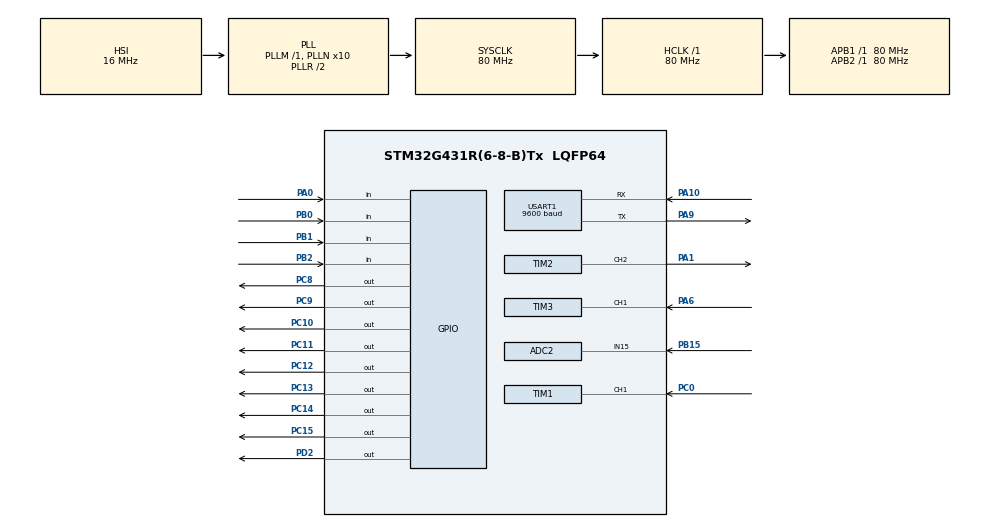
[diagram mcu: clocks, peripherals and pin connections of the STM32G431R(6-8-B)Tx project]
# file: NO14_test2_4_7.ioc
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ADC2.Channel-0\#ChannelRegularConversion=ADC_CHANNEL_15
ADC2.NbrOfConversionFlag=1
ADC2.OffsetNumber-0\#ChannelRegularConversion=ADC_OFFSET_NONE
ADC2.Rank-0\#ChannelRegularConversion=1
ADC2.SamplingTime-0\#ChannelRegularConversion=ADC_SAMPLETIME_2CYCLES_5
Mcu.Family=STM32G4
Mcu.Name=STM32G431R(6-8-B)Tx
Mcu.Package=LQFP64
NVIC.PriorityGroup=NVIC_PRIORITYGROUP_4
NVIC.TIM1_TRG_COM_TIM17_IRQn=true\:0\:0\:false\:false\:true\:true\:true\:true
NVIC.TIM1_UP_TIM16_IRQn=true\:0\:0\:false\:false\:true\:true\:true\:true
NVIC.TIM3_IRQn=true\:0\:0\:false\:false\:true\:true\:true\:true
NVIC.USART1_IRQn=true\:0\:0\:false\:false\:true\:true\:true\:true
PA0.Signal=GPIO_Input
PA1.Signal=S_TIM2_CH2
PA10.Mode=Asynchronous
PA10.Signal=USART1_RX
PA13.Mode=Serial_Wire
PA13.Signal=SYS_JTMS-SWDIO
PA14.Mode=Serial_Wire
PA14.Signal=SYS_JTCK-SWCLK
PA6.GPIO_PuPd=GPIO_PULLDOWN
PA6.GPIO_Speed=GPIO_SPEED_FREQ_LOW
PA6.Signal=S_TIM3_CH1
PA9.Mode=Asynchronous
PA9.Signal=USART1_TX
PB0.GPIO_PuPd=GPIO_PULLUP
PB0.Signal=GPIO_Input
PB1.Signal=GPIO_Input
PB15.Mode=IN15-Single-Ended
PB15.Signal=ADC2_IN15
PB2.Signal=GPIO_Input
PC0.Signal=S_TIM1_CH1
PC10.Signal=GPIO_Output
PC11.Signal=GPIO_Output
PC12.Signal=GPIO_Output
PC13.Signal=GPIO_Output
PC14-OSC32_IN.Signal=GPIO_Output
PC15-OSC32_OUT.Signal=GPIO_Output
PC8.Signal=GPIO_Output
PC9.Signal=GPIO_Output
PD2.Signal=GPIO_Output
PF0-OSC_IN.Mode=HSE-External-Oscillator
PF0-OSC_IN.Signal=RCC_OSC_IN
PF1-OSC_OUT.Mode=HSE-External-Oscillator
PF1-OSC_OUT.Signal=RCC_OSC_OUT
ProjectManager.HeapSize=0x200
ProjectManager.StackSize=0x400
ProjectManager.TargetToolchain=MDK-ARM V5.27
RCC.ADC12Freq_Value=80000000
RCC.AHBFreq_Value=80000000
RCC.APB1Freq_Value=80000000
RCC.APB1TimFreq_Value=80000000
RCC.APB2Freq_Value=80000000
RCC.APB2TimFreq_Value=80000000
RCC.CortexFreq_Value=80000000
RCC.EXTERNAL_CLOCK_VALUE=12288000
RCC.HCLKFreq_Value=80000000
RCC.HSE_VALUE=8000000
RCC.HSI48_VALUE=48000000
RCC.HSI_VALUE=16000000
RCC.LSE_VALUE=32768
RCC.PLLN=10
RCC.SYSCLKFreq_VALUE=80000000
RCC.SYSCLKSource=RCC_SYSCLKSOURCE_PLLCLK
RCC.USBFreq_Value=80000000
RCC.VCOOutputFreq_Value=160000000
SH.S_TIM1_CH1.0=TIM1_CH1,Input_Capture1_from_TI1
SH.S_TIM2_CH2.0=TIM2_CH2,PWM Generation2 CH2
SH.S_TIM3_CH1.0=TIM3_CH1,Input_Capture1_from_TI1
TIM1.Channel-Input_Capture1_from_TI1=TIM_CHANNEL_1
TIM1.PeriodNoDither=1000-1
TIM1.Prescaler=800-1
TIM2.AutoReloadPreload=TIM_AUTORELOAD_PRELOAD_ENABLE
TIM2.Channel-PWM\ Generation2\ CH2=TIM_CHANNEL_2
TIM2.PeriodNoDither=500-1
TIM2.Prescaler=80-1
TIM3.Channel-Input_Capture1_from_TI1=TIM_CHANNEL_1
TIM3.ICPolarity_CH1=TIM_INPUTCHANNELPOLARITY_RISING
TIM3.Prescaler=80-1
USART1.BaudRate=9600
USART1.VirtualMode-Asynchronous=VM_ASYNC
VP_SYS_VS_DBSignals.Mode=DisableDeadBatterySignals
VP_TIM1_VS_ClockSourceINT.Mode=Internal
VP_TIM3_VS_ClockSourceINT.Mode=Internal
board=custom

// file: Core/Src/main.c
/* USER CODE BEGIN Header */
/**
  ******************************************************************************
  * @file           : main.c
  * @brief          : Main program body
  ******************************************************************************
  * @attention
  *
  * Copyright (c) 2025 STMicroelectronics.
  * All rights reserved.
  *
  * This software is licensed under terms that can be found in the LICENSE file
  * in the root directory of this software component.
  * If no LICENSE file comes with this software, it is provided AS-IS.
  *
  ******************************************************************************
  */
/* USER CODE END Header */
#include "main.h"
#include "adc.h"
#include "tim.h"
#include "usart.h"
#include "gpio.h"

/* USER CODE BEGIN Includes */
#include "headfile.h"
/* USER CODE END Includes */

void SystemClock_Config(void);

int main(void)
{

  /* MCU Configuration--------------------------------------------------------*/

  /* Reset of all peripherals, Initializes the Flash interface and the Systick. */
  HAL_Init();

  /* Configure the system clock */
  SystemClock_Config();

  /* Initialize all configured peripherals */
  MX_GPIO_Init();
  MX_ADC2_Init();
  MX_TIM2_Init();
  MX_USART1_UART_Init();
  MX_TIM1_Init();
  MX_TIM3_Init();
  /* USER CODE BEGIN 2 */
	LCD_Init();
	LCD_SetBackColor(Black);
	LCD_SetTextColor(White);
	LCD_Clear(Black);
	HAL_ADC_Start(&hadc2);

	HAL_TIM_Base_Init(&htim1);
	HAL_TIM_Base_Start_IT(&htim1);
	__HAL_UART_ENABLE_IT(&huart1,UART_IT_IDLE);
	HAL_UART_Receive_IT(&huart1,rec,1);

	HAL_TIM_Base_Init(&htim3);
	HAL_TIM_Base_Init(&htim2);
	HAL_TIM_IC_Start_IT(&htim3,TIM_CHANNEL_1);

	HAL_TIM_PWM_Start(&htim2,TIM_CHANNEL_2);

	uint32_t duty = 0.5  * (TIM2->ARR + 1);
	__HAL_TIM_SET_COMPARE(&htim2, TIM_CHANNEL_2, duty);
  /* USER CODE END 2 */

  /* Infinite loop */
  /* USER CODE BEGIN WHILE */
  while (1)
  {
		top_con();
		key_scan();
		get_value();
		lcd_show();
		key_uart();
		duty_change();
		led_scan();
		//TIM2->CCR2=TIM2->ARR*0.5;
    /* USER CODE END WHILE */

  }
}

void SystemClock_Config(void)
{
  RCC_OscInitTypeDef RCC_OscInitStruct = {0};
  RCC_ClkInitTypeDef RCC_ClkInitStruct = {0};

  /** Configure the main internal regulator output voltage
  */
  HAL_PWREx_ControlVoltageScaling(PWR_REGULATOR_VOLTAGE_SCALE1);

  /** Initializes the RCC Oscillators according to the specified parameters
  * in the RCC_OscInitTypeDef structure.
  */
  RCC_OscInitStruct.OscillatorType = RCC_OSCILLATORTYPE_HSI;
  RCC_OscInitStruct.HSIState = RCC_HSI_ON;
  RCC_OscInitStruct.HSICalibrationValue = RCC_HSICALIBRATION_DEFAULT;
  RCC_OscInitStruct.PLL.PLLState = RCC_PLL_ON;
  RCC_OscInitStruct.PLL.PLLSource = RCC_PLLSOURCE_HSI;
  RCC_OscInitStruct.PLL.PLLM = RCC_PLLM_DIV1;
  RCC_OscInitStruct.PLL.PLLN = 10;
  RCC_OscInitStruct.PLL.PLLP = RCC_PLLP_DIV2;
  RCC_OscInitStruct.PLL.PLLQ = RCC_PLLQ_DIV2;
  RCC_OscInitStruct.PLL.PLLR = RCC_PLLR_DIV2;
  if (HAL_RCC_OscConfig(&RCC_OscInitStruct) != HAL_OK)
  {
    Error_Handler();
  }

  /** Initializes the CPU, AHB and APB buses clocks
  */
  RCC_ClkInitStruct.ClockType = RCC_CLOCKTYPE_HCLK|RCC_CLOCKTYPE_SYSCLK
                              |RCC_CLOCKTYPE_PCLK1|RCC_CLOCKTYPE_PCLK2;
  RCC_ClkInitStruct.SYSCLKSource = RCC_SYSCLKSOURCE_PLLCLK;
  RCC_ClkInitStruct.AHBCLKDivider = RCC_SYSCLK_DIV1;
  RCC_ClkInitStruct.APB1CLKDivider = RCC_HCLK_DIV1;
  RCC_ClkInitStruct.APB2CLKDivider = RCC_HCLK_DIV1;

  if (HAL_RCC_ClockConfig(&RCC_ClkInitStruct, FLASH_LATENCY_2) != HAL_OK)
  {
    Error_Handler();
  }
}

void Error_Handler(void)
{
  __disable_irq();
  while (1)
  {
  }
}
